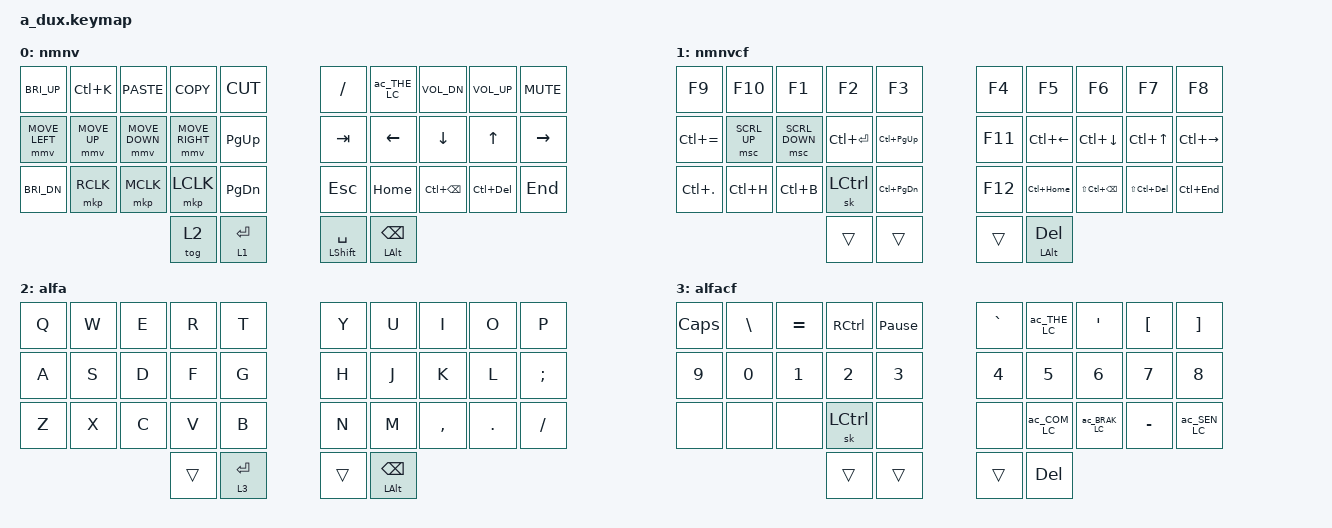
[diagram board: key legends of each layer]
/*
 * Copyright (c) 2021 The ZMK Contributors
 *
 * SPDX-License-Identifier: MIT
 */

#include <behaviors.dtsi>
#include <dt-bindings/zmk/keys.h>
#include <dt-bindings/zmk/mouse.h>
#define nmnv 0
#define nmnvcf 1
#define alfa 2
#define alfacf 3

&mmv {    
        time-to-max-speed-ms = <400>;
        acceleration-exponent=<1>;
};
&msc {    
        time-to-max-speed-ms = <1000>;
        acceleration-exponent=<0>;
}; 

&mt {
        quick-tap-ms = <200>;
};

&sk {
   	release-after-ms = <4000>;
};

/ {
    combos {
        compatible = "zmk,combos";
        combo_l3 {
            timeout-ms = <50>;
            key-positions = <30 31>;
	    layers = <2 3>;
            bindings = <&tog 3>;
        };
    };
};

/ {

macros {
        ac_THE_LC: ac_THE_LC {
        label = "ZM_ac_THE_LC";
        compatible = "zmk,behavior-macro";
        #binding-cells = <0>;
        wait-ms = <5>;
        tap-ms = <5>;
        bindings
        = <&macro_tap &kp D>
        , <&macro_release &kp LSHFT>
        , <&macro_tap &kp J &kp L &kp SPACE>
        ;
      };
        ac_BRAK_LC: ac_BRAK_LC {
        label = "ZM_ac_BRAK_LC";
        compatible = "zmk,behavior-macro";
        #binding-cells = <0>;
        wait-ms = <5>;
        tap-ms = <5>;
        bindings
        = <&macro_tap &kp KP_LPAR &kp KP_RPAR &kp LEFT>
        ;
      };
        ac_SEN_LC: ac_SEN_LC {
        label = "ZM_ac_SEN_LC";
        compatible = "zmk,behavior-macro";
        #binding-cells = <0>;
        wait-ms = <5>;
        tap-ms = <5>;
        bindings
        = <&macro_tap &kp SLASH &kp SPACE &sk LSHIFT>
        ;
    };
	ac_COM_LC: ac_COM_LC {
        label = "ZM_ac_COM_LC";
        compatible = "zmk,behavior-macro";
        #binding-cells = <0>;
        wait-ms = <5>;
        tap-ms = <5>;
        bindings
        = <&macro_tap &kp SLASH &kp R &kp I &kp C>
        ;
    };
};

	keymap {
		compatible = "zmk,keymap";

		nmnv {
			bindings = <
	                &kp C_BRI_UP   &kp LC(K)     &kp K_PASTE    &kp K_COPY      &kp K_CUT     &kp SLASH &ac_THE_LC &kp C_VOL_DN &kp C_VOL_UP &kp C_MUTE
			&mmv MOVE_LEFT &mmv MOVE_UP  &mmv MOVE_DOWN &mmv MOVE_RIGHT &kp PG_UP     &kp TAB   &kp LEFT   &kp DOWN     &kp UP       &kp RIGHT      
			&kp C_BRI_DN   &mkp RCLK     &mkp MCLK      &mkp LCLK       &kp PG_DN     &kp ESC   &kp HOME   &kp LC(BSPC) &kp LC(DEL)  &kp END   
				                                             &tog 2 &lt 1 ENTER   &mt LSHIFT SPACE &mt LALT BSPC
			>;
		};
		nmnvcf {
			bindings = <
			&kp F9        &kp F10       &kp F1        &kp F2        &kp F3           &kp F4  &kp F5       &kp F6           &kp F7          &kp F8
			&kp LC(EQUAL) &msc SCRL_UP &msc SCRL_DOWN &kp LC(ENTER) &kp LC(PG_UP)    &kp F11 &kp LC(LEFT) &kp LC(DOWN)     &kp LC(UP)      &kp LC(RIGHT) 
			&kp LC(DOT)   &kp LC(H)    &kp LC(B)      &sk LCTRL     &kp LC(PG_DN)    &kp F12 &kp LC(HOME) &kp LS(LC(BSPC)) &kp LS(LC(DEL)) &kp LC(END)
				                                          &trans   &trans        &trans  &mt LALT DEL
			>;
		};
		alfa {
			bindings = <
			&kp Q     &kp W     &kp E     &kp R     &kp T     &kp Y     &kp U     &kp I     &kp O     &kp P
			&kp A     &kp S     &kp D     &kp F     &kp G     &kp H     &kp J     &kp K     &kp L     &kp SEMI
			&kp Z     &kp X     &kp C     &kp V     &kp B     &kp N     &kp M     &kp COMMA &kp DOT   &kp SLASH
				                 &trans   &lt 3 ENTER     &trans  &mt LALT BSPC
			>;
		};
		alfacf {
			bindings = <
			&kp CAPS &kp BSLH &kp EQUAL &kp RCTRL &kp PAUSE_BREAK  &kp GRAVE &ac_THE_LC &kp SQT     &kp LBKT  &kp RBKT 
			&kp N9   &kp N0   &kp N1    &kp N2    &kp N3           &kp N4    &kp N5     &kp N6      &kp N7    &kp N8
			&none    &none    &none     &sk LCTRL &none            &none     &ac_COM_LC &ac_BRAK_LC &kp MINUS &ac_SEN_LC
				                            &trans   &trans    &trans  &kp DEL
			>;
		};

	};
};
